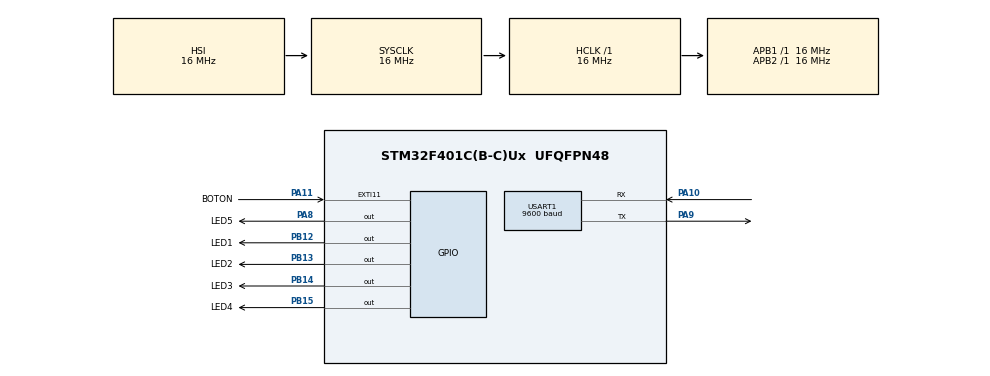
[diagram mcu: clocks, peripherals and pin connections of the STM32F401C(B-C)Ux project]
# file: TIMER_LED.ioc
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Dma.Request0=USART1_RX
Dma.USART1_RX.0.Direction=DMA_PERIPH_TO_MEMORY
Dma.USART1_RX.0.FIFOMode=DMA_FIFOMODE_DISABLE
Dma.USART1_RX.0.Instance=DMA2_Stream2
Dma.USART1_RX.0.MemDataAlignment=DMA_MDATAALIGN_BYTE
Dma.USART1_RX.0.MemInc=DMA_MINC_ENABLE
Dma.USART1_RX.0.Mode=DMA_NORMAL
Dma.USART1_RX.0.PeriphDataAlignment=DMA_PDATAALIGN_BYTE
Dma.USART1_RX.0.PeriphInc=DMA_PINC_DISABLE
Dma.USART1_RX.0.Priority=DMA_PRIORITY_LOW
Mcu.Family=STM32F4
Mcu.Name=STM32F401C(B-C)Ux
Mcu.Package=UFQFPN48
NVIC.DMA2_Stream2_IRQn=true\:0\:0\:false\:false\:true\:false\:true\:true
NVIC.EXTI15_10_IRQn=true\:0\:0\:false\:false\:true\:true\:true\:true
NVIC.PriorityGroup=NVIC_PRIORITYGROUP_2
NVIC.TIM1_UP_TIM10_IRQn=true\:1\:0\:true\:false\:true\:true\:true\:true
NVIC.USART1_IRQn=true\:1\:0\:true\:false\:true\:true\:true\:true
PA10.Mode=Asynchronous
PA10.Signal=USART1_RX
PA11.GPIO_Label=BOTON
PA11.GPIO_PuPd=GPIO_PULLDOWN
PA11.Signal=GPXTI11
PA8.GPIO_Label=LED5
PA8.Signal=GPIO_Output
PA9.Mode=Asynchronous
PA9.Signal=USART1_TX
PB12.GPIO_Label=LED1
PB12.Signal=GPIO_Output
PB13.GPIO_Label=LED2
PB13.Signal=GPIO_Output
PB14.GPIO_Label=LED3
PB14.Signal=GPIO_Output
PB15.GPIO_Label=LED4
PB15.Signal=GPIO_Output
ProjectManager.HeapSize=0x200
ProjectManager.StackSize=0x400
ProjectManager.TargetToolchain=CMake
RCC.AHBFreq_Value=16000000
RCC.APB1Freq_Value=16000000
RCC.APB2Freq_Value=16000000
RCC.CortexFreq_Value=16000000
RCC.HSE_VALUE=25000000
RCC.HSI_VALUE=16000000
RCC.LSE_VALUE=32768
RCC.SYSCLKFreq_VALUE=16000000
RCC.VCOOutputFreq_Value=192000000
TIM1.AutoReloadPreload=TIM_AUTORELOAD_PRELOAD_ENABLE
TIM1.Period=100-1
TIM1.Prescaler=16000-1
USART1.BaudRate=9600
USART1.VirtualMode=VM_ASYNC
VP_TIM1_VS_ClockSourceINT.Mode=Internal
board=custom

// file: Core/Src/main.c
/* USER CODE BEGIN Header */
/**
  ******************************************************************************
  * @file           : main.c
  * @brief          : Main program body
  ******************************************************************************
  * @attention
  *
  * Copyright (c) 2026 STMicroelectronics.
  * All rights reserved.
  *
  * This software is licensed under terms that can be found in the LICENSE file
  * in the root directory of this software component.
  * If no LICENSE file comes with this software, it is provided AS-IS.
  *
  ******************************************************************************
  */
/* USER CODE END Header */
#include "main.h"

/* USER CODE BEGIN Includes */
#include "stdio.h"
#include "string.h"
#include "stdlib.h"
#include "stdint.h"
#include "math.h"
#include "uart.h"
#include "UARTRX.h"
/* USER CODE END Includes */

TIM_HandleTypeDef htim1;

UART_HandleTypeDef huart1;
DMA_HandleTypeDef hdma_usart1_rx;

void SystemClock_Config(void);
static void MX_GPIO_Init(void);
static void MX_DMA_Init(void);
static void MX_TIM1_Init(void);
static void MX_USART1_UART_Init(void);

/* USER CODE BEGIN 0 */
void procesa_rx(void)
{
  if (strstr((char *)UARTRX1.trama_rx, "enciende") != NULL)
  {
    HAL_GPIO_WritePin(LED5_GPIO_Port, LED5_Pin, GPIO_PIN_SET);
  }
  else if (strstr((char *)UARTRX1.trama_rx, "apaga") != NULL)
  {
    HAL_GPIO_WritePin(LED5_GPIO_Port, LED5_Pin, GPIO_PIN_RESET);
  }
}

/* USER CODE END 0 */

int main(void)
{

  /* MCU Configuration--------------------------------------------------------*/

  /* Reset of all peripherals, Initializes the Flash interface and the Systick. */
  HAL_Init();

  /* Configure the system clock */
  SystemClock_Config();

  /* Initialize all configured peripherals */
  MX_GPIO_Init();
  MX_DMA_Init();
  MX_TIM1_Init();
  MX_USART1_UART_Init();
  /* USER CODE BEGIN 2 */
HAL_TIM_Base_Start_IT(&htim1);
uartRX_it_idle_dma_init( &UARTRX1);
  /* USER CODE END 2 */

  /* Infinite loop */
  /* USER CODE BEGIN WHILE */
  while (1)
  {
    HAL_GPIO_TogglePin(LED1_GPIO_Port, LED1_Pin);
    HAL_Delay(200);

    if (UARTRX1.flag_rx==1)
	  {
	      //uartx_write_text(&huart1, UARTRX1.trama_rx);
	     procesa_rx(); //procedimeinto donde se procesan los datos
		  uartRX_DMA_Re_init(&UARTRX1);
	  }

    /* USER CODE END WHILE */

  }
}

void SystemClock_Config(void)
{
  RCC_OscInitTypeDef RCC_OscInitStruct = {0};
  RCC_ClkInitTypeDef RCC_ClkInitStruct = {0};

  /** Configure the main internal regulator output voltage
  */
  __HAL_RCC_PWR_CLK_ENABLE();
  __HAL_PWR_VOLTAGESCALING_CONFIG(PWR_REGULATOR_VOLTAGE_SCALE2);

  /** Initializes the RCC Oscillators according to the specified parameters
  * in the RCC_OscInitTypeDef structure.
  */
  RCC_OscInitStruct.OscillatorType = RCC_OSCILLATORTYPE_HSI;
  RCC_OscInitStruct.HSIState = RCC_HSI_ON;
  RCC_OscInitStruct.HSICalibrationValue = RCC_HSICALIBRATION_DEFAULT;
  RCC_OscInitStruct.PLL.PLLState = RCC_PLL_NONE;
  if (HAL_RCC_OscConfig(&RCC_OscInitStruct) != HAL_OK)
  {
    Error_Handler();
  }

  /** Initializes the CPU, AHB and APB buses clocks
  */
  RCC_ClkInitStruct.ClockType = RCC_CLOCKTYPE_HCLK|RCC_CLOCKTYPE_SYSCLK
                              |RCC_CLOCKTYPE_PCLK1|RCC_CLOCKTYPE_PCLK2;
  RCC_ClkInitStruct.SYSCLKSource = RCC_SYSCLKSOURCE_HSI;
  RCC_ClkInitStruct.AHBCLKDivider = RCC_SYSCLK_DIV1;
  RCC_ClkInitStruct.APB1CLKDivider = RCC_HCLK_DIV1;
  RCC_ClkInitStruct.APB2CLKDivider = RCC_HCLK_DIV1;

  if (HAL_RCC_ClockConfig(&RCC_ClkInitStruct, FLASH_LATENCY_0) != HAL_OK)
  {
    Error_Handler();
  }
}

static void MX_TIM1_Init(void)
{

  TIM_ClockConfigTypeDef sClockSourceConfig = {0};
  TIM_MasterConfigTypeDef sMasterConfig = {0};

  htim1.Instance = TIM1;
  htim1.Init.Prescaler = 16000-1;
  htim1.Init.CounterMode = TIM_COUNTERMODE_UP;
  htim1.Init.Period = 100-1;
  htim1.Init.ClockDivision = TIM_CLOCKDIVISION_DIV1;
  htim1.Init.RepetitionCounter = 0;
  htim1.Init.AutoReloadPreload = TIM_AUTORELOAD_PRELOAD_ENABLE;
  if (HAL_TIM_Base_Init(&htim1) != HAL_OK)
  {
    Error_Handler();
  }
  sClockSourceConfig.ClockSource = TIM_CLOCKSOURCE_INTERNAL;
  if (HAL_TIM_ConfigClockSource(&htim1, &sClockSourceConfig) != HAL_OK)
  {
    Error_Handler();
  }
  sMasterConfig.MasterOutputTrigger = TIM_TRGO_RESET;
  sMasterConfig.MasterSlaveMode = TIM_MASTERSLAVEMODE_DISABLE;
  if (HAL_TIMEx_MasterConfigSynchronization(&htim1, &sMasterConfig) != HAL_OK)
  {
    Error_Handler();
  }

}

static void MX_USART1_UART_Init(void)
{

  huart1.Instance = USART1;
  huart1.Init.BaudRate = 9600;
  huart1.Init.WordLength = UART_WORDLENGTH_8B;
  huart1.Init.StopBits = UART_STOPBITS_1;
  huart1.Init.Parity = UART_PARITY_NONE;
  huart1.Init.Mode = UART_MODE_TX_RX;
  huart1.Init.HwFlowCtl = UART_HWCONTROL_NONE;
  huart1.Init.OverSampling = UART_OVERSAMPLING_16;
  if (HAL_UART_Init(&huart1) != HAL_OK)
  {
    Error_Handler();
  }

}

static void MX_DMA_Init(void)
{

  /* DMA controller clock enable */
  __HAL_RCC_DMA2_CLK_ENABLE();

  /* DMA interrupt init */
  /* DMA2_Stream2_IRQn interrupt configuration */
  HAL_NVIC_SetPriority(DMA2_Stream2_IRQn, 0, 0);
  HAL_NVIC_EnableIRQ(DMA2_Stream2_IRQn);

}

static void MX_GPIO_Init(void)
{
  GPIO_InitTypeDef GPIO_InitStruct = {0};

  /* GPIO Ports Clock Enable */
  __HAL_RCC_GPIOB_CLK_ENABLE();
  __HAL_RCC_GPIOA_CLK_ENABLE();

  /*Configure GPIO pin Output Level */
  HAL_GPIO_WritePin(GPIOB, LED1_Pin|LED2_Pin|LED3_Pin|LED4_Pin, GPIO_PIN_RESET);

  /*Configure GPIO pin Output Level */
  HAL_GPIO_WritePin(LED5_GPIO_Port, LED5_Pin, GPIO_PIN_RESET);

  /*Configure GPIO pins : LED1_Pin LED2_Pin LED3_Pin LED4_Pin */
  GPIO_InitStruct.Pin = LED1_Pin|LED2_Pin|LED3_Pin|LED4_Pin;
  GPIO_InitStruct.Mode = GPIO_MODE_OUTPUT_PP;
  GPIO_InitStruct.Pull = GPIO_NOPULL;
  GPIO_InitStruct.Speed = GPIO_SPEED_FREQ_LOW;
  HAL_GPIO_Init(GPIOB, &GPIO_InitStruct);

  /*Configure GPIO pin : LED5_Pin */
  GPIO_InitStruct.Pin = LED5_Pin;
  GPIO_InitStruct.Mode = GPIO_MODE_OUTPUT_PP;
  GPIO_InitStruct.Pull = GPIO_NOPULL;
  GPIO_InitStruct.Speed = GPIO_SPEED_FREQ_LOW;
  HAL_GPIO_Init(LED5_GPIO_Port, &GPIO_InitStruct);

  /*Configure GPIO pin : BOTON_Pin */
  GPIO_InitStruct.Pin = BOTON_Pin;
  GPIO_InitStruct.Mode = GPIO_MODE_IT_RISING;
  GPIO_InitStruct.Pull = GPIO_PULLDOWN;
  HAL_GPIO_Init(BOTON_GPIO_Port, &GPIO_InitStruct);

  /* EXTI interrupt init*/
  HAL_NVIC_SetPriority(EXTI15_10_IRQn, 0, 0);
  HAL_NVIC_EnableIRQ(EXTI15_10_IRQn);

}

void Error_Handler(void)
{
  __disable_irq();
  while (1)
  {
  }
}
